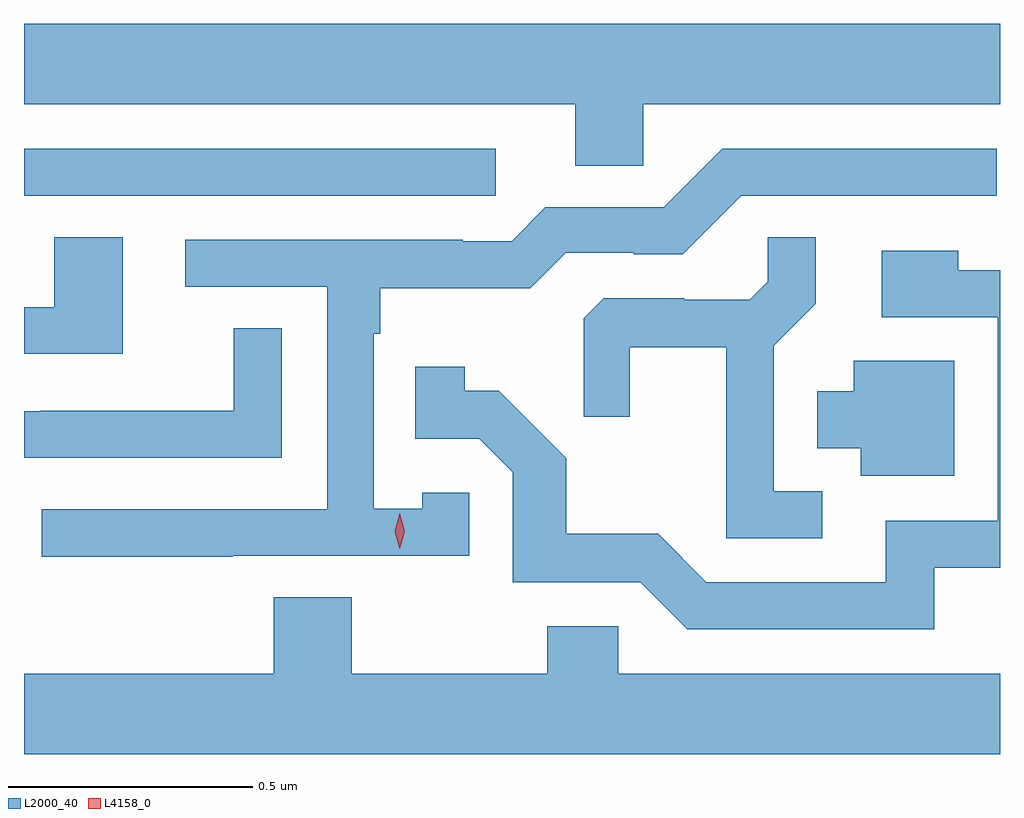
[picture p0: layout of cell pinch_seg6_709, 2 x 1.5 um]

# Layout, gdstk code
import gdstk
lib = gdstk.Library(unit=1e-6, precision=1e-09)
def R(c, l, rs):  # rectangles x0, y0, x1, y1
    for r in rs: c.add(gdstk.rectangle(r[:2], r[2:], *l))
def P(c, l, *ps):  # polygons
    for p in ps: c.add(gdstk.Polygon(p, *l))
L2000_40 = (2000, 40)
L4158_0 = (4158, 0)

pinch_seg6_709 = lib.new_cell('pinch_seg6_709')
R(pinch_seg6_709, L2000_40, [(447.339,935.16,448.306,935.256)])
P(pinch_seg6_709, L2000_40, [(448.608,935.348),(449.339,935.348),(449.339,935.512),(447.339,935.512),(447.339,935.348),(448.469,935.348),(448.469,935.221),(448.608,935.221)],
  [(447.767,934.422),(448.251,934.422),(448.251,934.551),(448.155,934.551),(448.155,934.519),(448.056,934.519),(448.056,934.877),(448.069,934.877),(448.069,934.97),(448.376,934.97),(448.449,935.043),(448.588,935.043),(448.588,935.04),(448.689,935.04),(448.809,935.16),(449.332,935.16),(449.332,935.256),(448.77,935.256),(448.65,935.136),(448.407,935.136),(448.338,935.067),(448.238,935.067),(448.238,935.07),(447.669,935.07),(447.669,934.974),(447.96,934.974),(447.96,934.518),(447.375,934.518),(447.375,934.42),(447.767,934.42)],
  [(448.975,934.554),(448.875,934.554),(448.875,934.853),(448.961,934.939),(448.961,935.075),(448.863,935.075),(448.863,934.984),(448.826,934.947),(448.692,934.947),(448.692,934.95),(448.527,934.95),(448.486,934.909),(448.486,934.707),(448.58,934.707),(448.58,934.85),(448.778,934.85),(448.778,934.458),(448.975,934.458)],
  [(447.541,935.075),(447.401,935.075),(447.401,934.932),(447.339,934.932),(447.339,934.836),(447.541,934.836)],
  [(449.204,934.398),(449.339,934.398),(449.339,935.007),(449.253,935.007),(449.253,935.047),(449.097,935.047),(449.097,934.911),(449.334,934.911),(449.334,934.494),(449.105,934.494),(449.105,934.368),(448.737,934.368),(448.639,934.467),(448.45,934.467),(448.45,934.622),(448.312,934.76),(448.242,934.76),(448.242,934.81),(448.141,934.81),(448.141,934.662),(448.272,934.662),(448.341,934.593),(448.341,934.368),(448.602,934.368),(448.698,934.272),(449.204,934.272)],
  [(447.867,934.889),(447.769,934.889),(447.769,934.719),(447.373,934.719),(447.373,934.718),(447.339,934.718),(447.339,934.623),(447.867,934.623)],
  [(449.245,934.822),(449.039,934.822),(449.039,934.759),(448.964,934.759),(448.964,934.643),(449.054,934.643),(449.054,934.586),(449.245,934.586)],
  [(449.339,934.18),(448.557,934.18),(448.557,934.278),(448.411,934.278),(448.411,934.18),(448.011,934.18),(448.011,934.337),(447.851,934.337),(447.851,934.18),(447.339,934.18),(447.339,934.016),(449.339,934.016)])
P(pinch_seg6_709, L4158_0, [(448.109,934.437),(448.109,934.437),(448.099,934.473),(448.109,934.509),(448.109,934.509),(448.109,934.509),(448.119,934.473),(448.109,934.437)])

lib.write_gds('pinch_seg6_709.gds')
